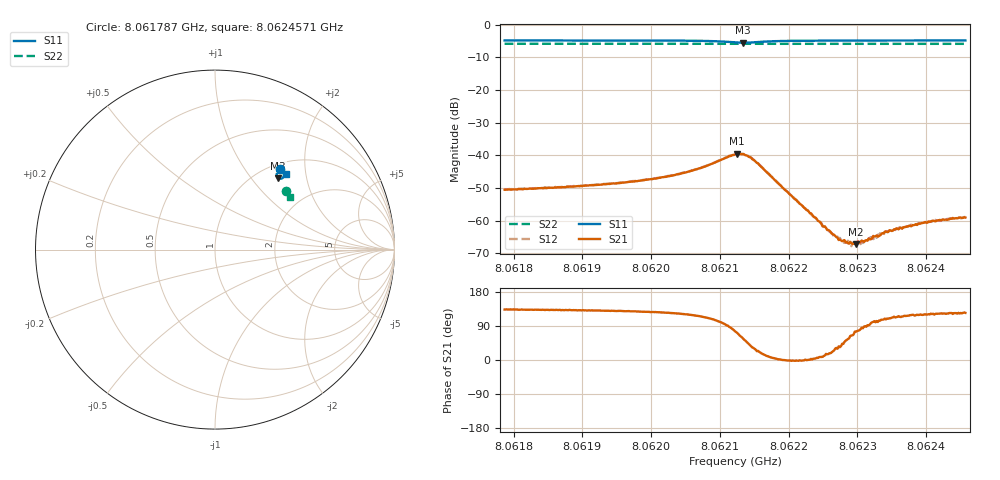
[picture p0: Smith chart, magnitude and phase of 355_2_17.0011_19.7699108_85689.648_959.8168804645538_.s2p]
#  HZ  S  RI  R  50.00
! Rohde & Schwarz Vector Network Analyzer
! Rohde-Schwarz,ZNB20-2Port,1311601062101988,3.16
! Created: UTC 3/20/2024, 11:08:00 PM
! freq[Hz]  re:S11  im:S11  re:S21  im:S21  re:S12  im:S12  re:S22  im:S22
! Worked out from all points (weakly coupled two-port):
!   401 points, 8.061787 GHz to 8.0624571 GHz, reference 50 ohm
!   highest |S21| = -39.49 dB at 8.0621254 GHz (marker M1); lowest = -67.2 dB at 8.062298 GHz (marker M2)
!   lowest |S11| = -5.5 dB at 8.0621338 GHz (marker M3), VSWR 3.27, Z = 62 + j68.8 ohm
!   |S11| at or under -10 dB: nowhere
!   |S22| runs from -5.9 to -5.8 dB; largest |S21 - S12| = 0.00078
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8.06178702e9  0.3634 0.4469  -0.00203 0.00217  -0.00195 0.00232  0.3962 0.3245
8.06189927e9  0.371 0.4402  -0.00221 0.00255  -0.00208 0.00274  0.4007 0.3189
8.06201151e9  0.3798 0.4305  -0.00266 0.00366  -0.00242 0.00382  0.4048 0.3132
8.06206847e9  0.3844 0.4194  -0.00275 0.00559  -0.00242 0.00578  0.4069 0.3098
8.06212208e9  0.3663 0.3945  0.00255 0.01  0.00302 0.00993  0.4075 0.3064
8.06212543e9  0.3623 0.3943  0.0034 0.0101  0.00407 0.00964  0.4076 0.3062
8.06213381e9  0.3516 0.3982  0.00571 0.00873  0.00628 0.00853  0.4073 0.3063
8.06214219e9  0.3447 0.4071  0.00707 0.00631  0.00757 0.00607  0.4076 0.3064
8.06215559e9  0.3447 0.4225  0.00687 0.00307  0.00712 0.00252  0.4082 0.3064
8.06223433e9  0.3729 0.4345  0.00122 3.53e-05  0.0012 -1.61e-05  0.4121 0.3028
8.06226281e9  0.3773 0.4328  0.000592 0.000219  0.000621 0.00017  0.4133 0.3014
8.06227453e9  0.3787 0.4319  0.000425 0.000283  0.000469 0.000276  0.4137 0.3007
8.06228124e9  0.3795 0.4315  0.00034 0.000371  0.000325 0.000323  0.414 0.3004
8.06228961e9  0.3804 0.431  0.000212 0.000423  0.000232 0.000377  0.4143 0.3
8.06229799e9  0.3812 0.4304  0.000113 0.000424  0.000152 0.000424  0.4147 0.2995
8.06230804e9  0.3822 0.4298  5.36e-05 0.000479  2.68e-05 0.000453  0.4151 0.2988
8.06231809e9  0.3831 0.4292  -3.02e-05 0.000516  -3.24e-05 0.000544  0.4154 0.2985
8.06232479e9  0.3839 0.4288  -0.000125 0.000557  -8.09e-05 0.000531  0.4157 0.298
8.06234657e9  0.3855 0.4274  -0.000246 0.000669  -0.000237 0.000653  0.4164 0.2969
8.06238008e9  0.3882 0.4255  -0.00042 0.000746  -0.000351 0.00078  0.4176 0.2953
8.06240688e9  0.3902 0.4239  -0.000519 0.000818  -0.000464 0.000848  0.4186 0.2938
8.06245714e9  0.3935 0.4211  -0.00063 0.000919  -0.000591 0.000976  0.4204 0.2911
